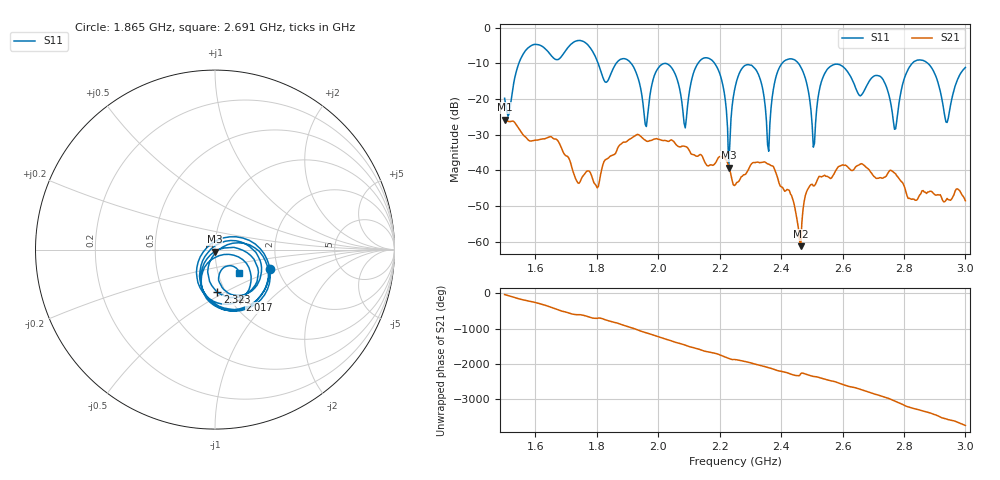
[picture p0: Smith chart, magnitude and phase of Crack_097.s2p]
# HZ S RI R 50
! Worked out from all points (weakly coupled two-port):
!   404 points, 1.5 GHz to 3 GHz, reference 50 ohm
!   highest |S21| = -25.76 dB at 1.5 GHz (marker M1); lowest = -61.3 dB at 2.464 GHz (marker M2)
!   lowest |S11| = -39.2 dB at 2.23 GHz (marker M3), VSWR 1.02, Z = 49.8 - j1.07 ohm
!   |S11| at or under -10 dB: 1.912 GHz to 2.13 GHz (217.8 MHz wide, 10.8 % of centre); 2.184 GHz to 2.403 GHz (219.7 MHz wide, 9.58 % of centre); 2.457 GHz to 2.827 GHz (370.3 MHz wide, 14 % of centre) (the widest 3 of 6)
!   S12 and S22 are empty: the file has one direction only
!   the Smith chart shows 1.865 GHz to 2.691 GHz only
!   S11 on the Smith chart (normalised r, x): 1.865 GHz: 1.80, -0.44; 2.017 GHz: 1.10, -0.68; 2.323 GHz: 0.91, -0.46; 2.691 GHz: 1.26, -0.35
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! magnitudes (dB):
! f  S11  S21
! 1.5 GHz  -19.8  -25.8
! 1.578 GHz  -5.5  -31.6
! 1.753 GHz  -3.7  -41.8
! 1.865 GHz  -9.8  -34.5
! 1.962 GHz  -27.7  -31.8
! 2.002 GHz  -11.1  -31.3
! 2.017 GHz  -10.1  -31.7
! 2.088 GHz  -28.1  -33.3
! 2.177 GHz  -9.3  -38.6
! 2.23 GHz  -39.2  -38.9
! 2.252 GHz  -16.1  -44.0
! 2.323 GHz  -12.5  -37.7
! 2.36 GHz  -34.7  -38.3
! 2.397 GHz  -10.8  -44.4
! 2.464 GHz  -11.0  -61.3
! 2.501 GHz  -27.4  -43.9
! 2.561 GHz  -10.8  -42.3
! 2.691 GHz  -14.5  -40.4
! 2.751 GHz  -18.7  -40.4
! 2.862 GHz  -9.2  -45.7
! 2.94 GHz  -26.6  -47.9
! 3 GHz  -11.1  -48.5
